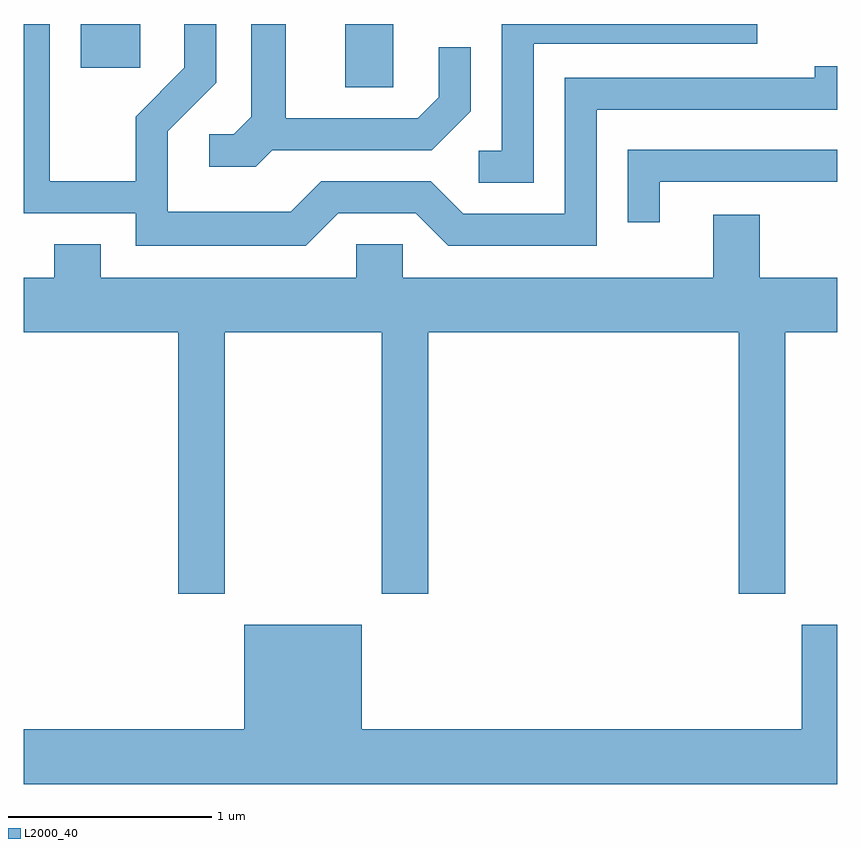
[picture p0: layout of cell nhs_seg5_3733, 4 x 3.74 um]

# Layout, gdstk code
import gdstk
lib = gdstk.Library(unit=1e-6, precision=1e-09)
def R(c, l, rs):  # rectangles x0, y0, x1, y1
    for r in rs: c.add(gdstk.rectangle(r[:2], r[2:], *l))
def P(c, l, *ps):  # polygons
    for p in ps: c.add(gdstk.Polygon(p, *l))
L2000_40 = (2000, 40)

nhs_seg5_3733 = lib.new_cell('nhs_seg5_3733')
R(nhs_seg5_3733, L2000_40, [(297.191,1475.761,297.429,1476.072), (295.891,1475.856,296.184,1476.072)])
P(nhs_seg5_3733, L2000_40, [(298.119,1475.976),(299.218,1475.976),(299.218,1476.072),(297.961,1476.072),(297.961,1475.449),(297.848,1475.449),(297.848,1475.291),(298.119,1475.291)],
  [(296.832,1475.451),(297.617,1475.451),(297.809,1475.644),(297.809,1475.958),(297.651,1475.958),(297.651,1475.712),(297.549,1475.609),(296.899,1475.609),(296.899,1476.072),(296.731,1476.072),(296.731,1475.617),(296.644,1475.529),(296.523,1475.529),(296.523,1475.371),(296.752,1475.371)],
  [(297.157,1475.141),(297.539,1475.141),(297.699,1474.981),(298.429,1474.981),(298.429,1475.651),(299.611,1475.651),(299.611,1475.864),(299.501,1475.864),(299.501,1475.809),(298.271,1475.809),(298.271,1475.139),(297.772,1475.139),(297.612,1475.299),(297.074,1475.299),(296.924,1475.149),(296.319,1475.149),(296.319,1475.544),(296.559,1475.784),(296.559,1476.072),(296.401,1476.072),(296.401,1475.857),(296.161,1475.617),(296.161,1475.299),(295.739,1475.299),(295.739,1476.072),(295.611,1476.072),(295.611,1475.141),(296.161,1475.141),(296.161,1474.981),(296.997,1474.981)],
  [(298.739,1475.296),(299.611,1475.296),(299.611,1475.454),(298.581,1475.454),(298.581,1475.098),(298.739,1475.098)],
  [(296.599,1474.556),(297.371,1474.556),(297.371,1473.271),(297.599,1473.271),(297.599,1474.556),(299.126,1474.556),(299.126,1473.271),(299.354,1473.271),(299.354,1474.556),(299.611,1474.556),(299.611,1474.824),(299.229,1474.824),(299.229,1475.134),(299.001,1475.134),(299.001,1474.824),(297.474,1474.824),(297.474,1474.989),(297.246,1474.989),(297.246,1474.824),(295.989,1474.824),(295.989,1474.989),(295.761,1474.989),(295.761,1474.824),(295.611,1474.824),(295.611,1474.556),(296.371,1474.556),(296.371,1473.271),(296.599,1473.271)],
  [(299.611,1473.119),(299.436,1473.119),(299.436,1472.604),(297.274,1472.604),(297.274,1473.119),(296.696,1473.119),(296.696,1472.604),(295.611,1472.604),(295.611,1472.336),(299.611,1472.336)])

lib.write_gds('nhs_seg5_3733.gds')
